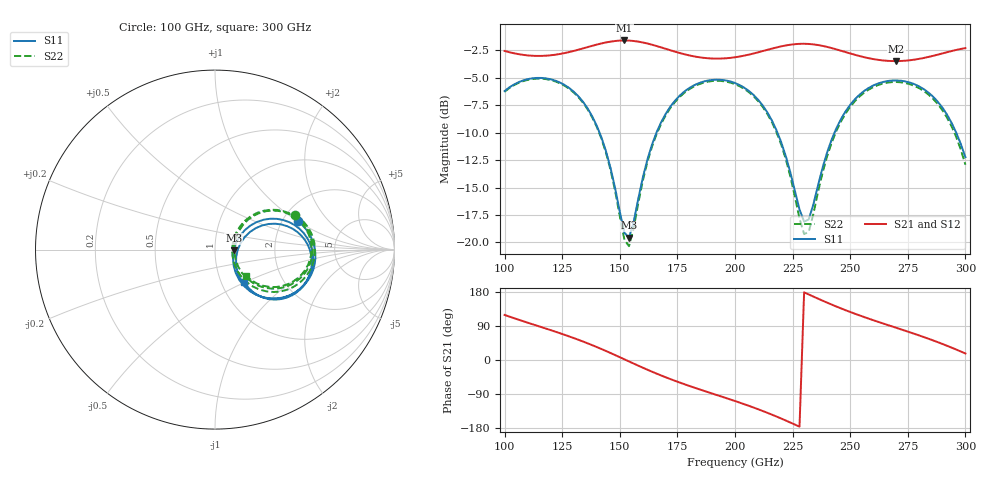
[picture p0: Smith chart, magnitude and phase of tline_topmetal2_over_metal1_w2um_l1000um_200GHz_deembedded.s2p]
! Created with skrf 2.0.1 (http://scikit-rf.org).
# GHz S DB R 50.0
!freq dBS11 angS11 dBS21 angS21 dBS12 angS12 dBS22 angS22
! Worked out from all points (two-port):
!   101 points, 100 GHz to 300 GHz, reference 50 ohm
!   highest |S21| = -1.60 dB at 152 GHz (marker M1); lowest = -3.5 dB at 270 GHz (marker M2)
!   |S21| within 3 dB of the highest: start of sweep to end of sweep
!   lowest |S11| = -19.6 dB at 154 GHz (marker M3), VSWR 1.23, Z = 61.7 - j0.463 ohm
!   |S11| at or under -10 dB: 141.2 GHz to 165.9 GHz (24.72 GHz wide, 16.1 % of centre); 218.4 GHz to 243.2 GHz (24.79 GHz wide, 10.7 % of centre); 296 GHz to end of sweep
!   |S22| runs from -20.3 to -5.1 dB; largest |S21 - S12| = 8.4e-14
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100  -6.21 18.7  -2.56 118.9  -2.56 118.9  -6.28 23.6
116  -5.02 -8.3  -3.01 86.7  -3.01 86.7  -5.08 -2.7
124  -5.43 -21.6  -2.83 70.7  -2.83 70.7  -5.50 -15.7
134  -7.18 -38.5  -2.33 48.8  -2.33 48.8  -7.26 -32.5
144  -11.69 -51.4  -1.78 23.7  -1.78 23.7  -11.83 -45.7
152  -19.12 -25.2  -1.60 1.8  -1.60 1.8  -19.76 -19.5
154  -19.58 -2.0  -1.61 -3.8  -1.61 -3.8  -20.34 5.8
162  -12.43 34.2  -1.88 -25.7  -1.88 -25.7  -12.66 43.9
168  -9.03 29.1  -2.24 -41.0  -2.24 -41.0  -9.17 38.5
184  -5.52 3.9  -3.12 -76.3  -3.12 -76.3  -5.62 13.3
200  -5.48 -21.7  -3.13 -108.3  -3.13 -108.3  -5.58 -12.1
216  -8.89 -46.2  -2.35 -144.1  -2.35 -144.1  -9.04 -37.2
222  -12.11 -50.2  -2.06 -159.6  -2.06 -159.6  -12.38 -42.0
230  -18.11 -18.0  -1.90 178.5  -1.90 178.5  -19.25 -8.5
234  -16.56 14.9  -1.96 167.5  -1.96 167.5  -17.42 29.4
240  -11.80 27.8  -2.19 151.3  -2.19 151.3  -12.15 42.1
248  -8.06 20.7  -2.66 131.4  -2.66 131.4  -8.25 34.3
258  -5.93 5.8  -3.22 109.2  -3.22 109.2  -6.08 18.9
268  -5.25 -9.6  -3.48 89.0  -3.48 89.0  -5.40 3.2
270  -5.24 -12.6  -3.48 85.0  -3.48 85.0  -5.39 0.1
288  -7.18 -39.5  -2.89 47.1  -2.89 47.1  -7.39 -28.3
300  -12.23 -48.0  -2.30 17.2  -2.30 17.2  -12.92 -40.2
